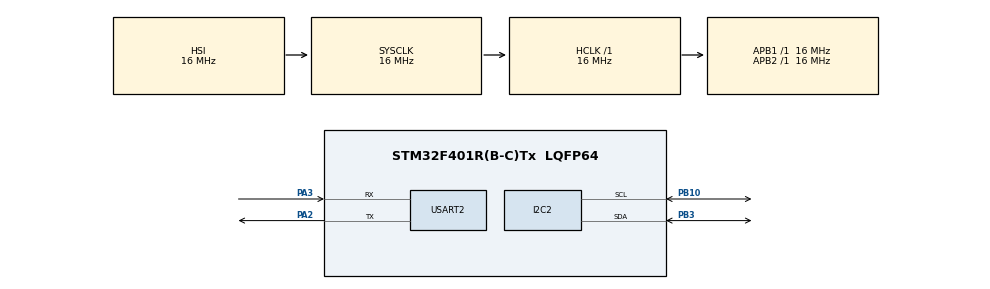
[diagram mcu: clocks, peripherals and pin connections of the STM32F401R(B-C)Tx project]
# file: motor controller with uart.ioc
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FREERTOS.Tasks01=defaultTask,0,128,StartDefaultTask,Default,NULL,Dynamic,NULL,NULL
FREERTOS.configTOTAL_HEAP_SIZE=4096
FREERTOS.configUSE_NEWLIB_REENTRANT=1
Mcu.Family=STM32F4
Mcu.Name=STM32F401R(B-C)Tx
Mcu.Package=LQFP64
NVIC.PriorityGroup=NVIC_PRIORITYGROUP_4
NVIC.TIM2_IRQn=true\:15\:0\:false\:false\:true\:false\:false\:true\:true
NVIC.TimeBase=TIM2_IRQn
NVIC.TimeBaseIP=TIM2
PA2.Mode=Asynchronous
PA2.Signal=USART2_TX
PA3.Mode=Asynchronous
PA3.Signal=USART2_RX
PB10.Mode=I2C
PB10.Signal=I2C2_SCL
PB3.Mode=I2C
PB3.Signal=I2C2_SDA
ProjectManager.HeapSize=0x200
ProjectManager.StackSize=0x400
ProjectManager.TargetToolchain=STM32CubeIDE
RCC.AHBFreq_Value=16000000
RCC.APB1Freq_Value=16000000
RCC.APB2Freq_Value=16000000
RCC.CortexFreq_Value=16000000
RCC.HSE_VALUE=25000000
RCC.HSI_VALUE=16000000
RCC.LSE_VALUE=32768
RCC.SYSCLKFreq_VALUE=16000000
RCC.VCOOutputFreq_Value=192000000
USART2.VirtualMode=VM_ASYNC
VP_FREERTOS_VS_CMSIS_V1.Mode=CMSIS_V1
VP_SYS_VS_tim2.Mode=TIM2
board=custom

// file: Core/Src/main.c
/* USER CODE BEGIN Header */
/**
  ******************************************************************************
  * @file           : main.c
  * @brief          : Main program body - MX1508 Motor Controller with UART
  ******************************************************************************
  * @attention
  *
  * Copyright (c) 2025 STMicroelectronics.
  * All rights reserved.
  *
  * This software is licensed under terms that can be found in the LICENSE file
  * in the root directory of this software component.
  * If no LICENSE file comes with this software, it is provided AS-IS.
  *
  ******************************************************************************
  *
  * @project       Motor Controller with UART - Autonomous Robot
  * @target        STM32F401RCT6
  * @motor_driver  MX1508 Dual H-Bridge
  *
  * @description
  * This firmware implements a UART-controlled motor driver system using the
  * STM32F401RC microcontroller. The robot receives commands via USART1 to
  * control two DC motors through an MX1508 H-bridge driver with PWM speed control.
  *
  * @hardware_connections
  * Motor Driver (MX1508) - PWM Control via TIM5:
  *   PA0 -> IN1 (Motor 1 Forward)  - TIM5_CH1
  *   PA1 -> IN2 (Motor 1 Reverse)  - TIM5_CH2
  *   PA2 -> IN3 (Motor 2 Forward)  - TIM5_CH3
  *   PA3 -> IN4 (Motor 2 Reverse)  - TIM5_CH4
  *
  * UART (USART1):
  *   PA9  -> TX (Connect to RX of USB-Serial adapter)
  *   PA10 -> RX (Connect to TX of USB-Serial adapter)
  *
  * @author        Robot Project Team
  * @date          October 31, 2025
  * @version       2.2 - Modular Architecture
  *
  ******************************************************************************
  */
/* USER CODE END Header */
#include "main.h"
#include "cmsis_os.h"

/* USER CODE BEGIN Includes */
#include "motor_control.h"
#include "uart_comm.h"
#include "led_indicators.h"
#include "ultrasonic.h"
#include "command_processor.h"
#include "wall_avoidance.h"
#include "tof_sensors.h"
#include "i2c_scanner.h"
/* USER CODE END Includes */

I2C_HandleTypeDef hi2c2;

UART_HandleTypeDef huart2;

osThreadId defaultTaskHandle;
osThreadId tofTaskHandle;
osThreadId cmdTaskHandle;
osThreadId wallTaskHandle;

void SystemClock_Config(void);
static void MX_GPIO_Init(void);
static void MX_I2C2_Init(void);
static void MX_USART2_UART_Init(void);
void StartDefaultTask(void const * argument);

/* USER CODE BEGIN 0 */

/**
 * @brief  USART1 Interrupt Handler (redirects to module)
 * @retval None
 */
void USART1_IRQHandler(void)
{
    UART_IRQHandler();
}

/* USER CODE END 0 */

int main(void)
{

  /* MCU Configuration--------------------------------------------------------*/

  /* Reset of all peripherals, Initializes the Flash interface and the Systick. */
  HAL_Init();

  /* Configure the system clock */
  SystemClock_Config();

  /* Initialize all configured peripherals */
  MX_GPIO_Init();
  MX_I2C2_Init();
  MX_USART2_UART_Init();
  /* USER CODE BEGIN 2 */

    /* Initialize GPIO for motors, UART, LEDs, and sensors */
    Motor_GPIO_Init();
    UART_GPIO_Init();
    LED_Init();

#if ULTRASONIC_ENABLED
    Ultrasonic_GPIO_Init();
#endif

    /* Initialize TIM5 for PWM motor control */
    Motor_TIM5_PWM_Init();

    /* Initialize USART1 for command reception */
    UART_Init();

    /* Ensure ToF XSHUT pins are configured and power sensors for scan */
    ToF_GPIO_Init();
    HAL_GPIO_WritePin(TOF_XSHUT_PORT, TOF_XSHUT1_PIN | TOF_XSHUT2_PIN, GPIO_PIN_SET);
    HAL_Delay(10);

    /* Run I2C bus scan to list devices (helpful to confirm VL53L0X presence) */
    I2C_Scanner(&hi2c2);

#if DEBUG_BOOT_BANNER
    /* Print boot banner */
    UART_SendCRLF();
    UART_SendString("BOOT: MX1508 Motor Controller v2.2 (STM32F401RC)\r\n");
    UART_SendString("Architecture: Modular Design\r\n");
    UART_SendString("Clock=HSI 16MHz, UART1=9600 8N1\r\n");
#if ULTRASONIC_ENABLED
    UART_SendString("Ultrasonic: ENABLED");
#else
    UART_SendString("Ultrasonic: DISABLED");
#endif
    UART_SendString(", Debug=");
#if ULTRASONIC_DEBUG
    UART_SendString("ON\r\n");
#else
    UART_SendString("OFF\r\n");
#endif
    UART_SendString("Modules: motor_control, uart_comm, led_indicators, ");
    UART_SendString("ultrasonic, command_processor, wall_avoidance\r\n");
#endif

#if ULTRASONIC_ENABLED
    /* Initialize Ultrasonic sensors */
    Ultrasonic_Init();
#endif

    /* Run LED self-test */
    LED_SelfTest();

    /* Initialize safety timer */
    last_command_time = HAL_GetTick();

    /* Start with motors stopped */
    Motor_Stop();

  /* USER CODE END 2 */

  /* USER CODE BEGIN RTOS_QUEUES */
    /* Create UART command queue */
    osMessageQDef(uartCmdQueue, 32, uint16_t);
    uartCmdQueueHandle = osMessageCreate(osMessageQ(uartCmdQueue), NULL);
  /* USER CODE END RTOS_QUEUES */

  /* Create the thread(s) */
  /* definition and creation of defaultTask */
  osThreadDef(defaultTask, StartDefaultTask, osPriorityNormal, 0, 128);
  defaultTaskHandle = osThreadCreate(osThread(defaultTask), NULL);

  /* USER CODE BEGIN RTOS_THREADS */
    /* add threads, ... */
    /* Create ToF sensor task (reads VL53L0X sensors at ~50Hz) */
    osThreadDef(tofTask, ToF_Task, osPriorityNormal, 0, 256);
    tofTaskHandle = osThreadCreate(osThread(tofTask), NULL);
    /* Create UART command processing task */
    osThreadDef(cmdTask, Command_Task, osPriorityAboveNormal, 0, 128);
    cmdTaskHandle = osThreadCreate(osThread(cmdTask), NULL);
    /* Create Wall Avoidance / Ultrasonic task (centering + side safety) */
    osThreadDef(wallTask, WallAvoidance_Task, osPriorityAboveNormal, 0, 256);
    wallTaskHandle = osThreadCreate(osThread(wallTask), NULL);
  /* USER CODE END RTOS_THREADS */

  /* Start scheduler */
  osKernelStart();

  /* We should never get here as control is now taken by the scheduler */

  /* Infinite loop */
    while (1)
    {

    /* USER CODE BEGIN 3 */
        osDelay(1000);
    }
  /* USER CODE END 3 */
}

void SystemClock_Config(void)
{
  RCC_OscInitTypeDef RCC_OscInitStruct = {0};
  RCC_ClkInitTypeDef RCC_ClkInitStruct = {0};

  /** Configure the main internal regulator output voltage
  */
  __HAL_RCC_PWR_CLK_ENABLE();
  __HAL_PWR_VOLTAGESCALING_CONFIG(PWR_REGULATOR_VOLTAGE_SCALE2);

  /** Initializes the RCC Oscillators according to the specified parameters
  * in the RCC_OscInitTypeDef structure.
  */
  RCC_OscInitStruct.OscillatorType = RCC_OSCILLATORTYPE_HSI;
  RCC_OscInitStruct.HSIState = RCC_HSI_ON;
  RCC_OscInitStruct.HSICalibrationValue = RCC_HSICALIBRATION_DEFAULT;
  RCC_OscInitStruct.PLL.PLLState = RCC_PLL_NONE;
  if (HAL_RCC_OscConfig(&RCC_OscInitStruct) != HAL_OK)
  {
    Error_Handler();
  }

  /** Initializes the CPU, AHB and APB buses clocks
  */
  RCC_ClkInitStruct.ClockType = RCC_CLOCKTYPE_HCLK|RCC_CLOCKTYPE_SYSCLK
                              |RCC_CLOCKTYPE_PCLK1|RCC_CLOCKTYPE_PCLK2;
  RCC_ClkInitStruct.SYSCLKSource = RCC_SYSCLKSOURCE_HSI;
  RCC_ClkInitStruct.AHBCLKDivider = RCC_SYSCLK_DIV1;
  RCC_ClkInitStruct.APB1CLKDivider = RCC_HCLK_DIV1;
  RCC_ClkInitStruct.APB2CLKDivider = RCC_HCLK_DIV1;

  if (HAL_RCC_ClockConfig(&RCC_ClkInitStruct, FLASH_LATENCY_0) != HAL_OK)
  {
    Error_Handler();
  }
}

static void MX_I2C2_Init(void)
{

  hi2c2.Instance = I2C2;
  hi2c2.Init.ClockSpeed = 100000;
  hi2c2.Init.DutyCycle = I2C_DUTYCYCLE_2;
  hi2c2.Init.OwnAddress1 = 0;
  hi2c2.Init.AddressingMode = I2C_ADDRESSINGMODE_7BIT;
  hi2c2.Init.DualAddressMode = I2C_DUALADDRESS_DISABLE;
  hi2c2.Init.OwnAddress2 = 0;
  hi2c2.Init.GeneralCallMode = I2C_GENERALCALL_DISABLE;
  hi2c2.Init.NoStretchMode = I2C_NOSTRETCH_DISABLE;
  if (HAL_I2C_Init(&hi2c2) != HAL_OK)
  {
    Error_Handler();
  }

}

static void MX_USART2_UART_Init(void)
{

  huart2.Instance = USART2;
  huart2.Init.BaudRate = 115200;
  huart2.Init.WordLength = UART_WORDLENGTH_8B;
  huart2.Init.StopBits = UART_STOPBITS_1;
  huart2.Init.Parity = UART_PARITY_NONE;
  huart2.Init.Mode = UART_MODE_TX_RX;
  huart2.Init.HwFlowCtl = UART_HWCONTROL_NONE;
  huart2.Init.OverSampling = UART_OVERSAMPLING_16;
  if (HAL_UART_Init(&huart2) != HAL_OK)
  {
    Error_Handler();
  }

}

static void MX_GPIO_Init(void)
{

  /* GPIO Ports Clock Enable */
  __HAL_RCC_GPIOA_CLK_ENABLE();
  __HAL_RCC_GPIOB_CLK_ENABLE();

}

void StartDefaultTask(void const * argument)
{
  /* USER CODE BEGIN 5 */
    /* Housekeeping/idle task */
    for(;;)
    {
        /* Blink heartbeat LED */
        LED_Toggle_Heartbeat();

#if DEBUG_UART_HEARTBEAT
        static uint32_t hb_counter = 0;
        if (!uart_rx_seen)
        {
            if ((hb_counter++ % 4U) == 0U)
            {
                UART_SendString("HB t=");
                UART_SendUInt(HAL_GetTick());
                UART_SendCRLF();
            }
        }
#endif
        /* Housekeeping: check for command safety timeout */
        Command_SafetyCheck();
        osDelay(250);
    }
  /* USER CODE END 5 */
}

void HAL_TIM_PeriodElapsedCallback(TIM_HandleTypeDef *htim)
{
  if (htim->Instance == TIM2)
  {
    HAL_IncTick();
  }
}

void Error_Handler(void)
{
    __disable_irq();
    while (1)
    {
    }
}
#ifdef USE_FULL_ASSERT
/**
  * @brief  Reports the name of the source file and the source line number
  *         where the assert_param error has occurred.
  * @param  file: pointer to the source file name
  * @param  line: assert_param error line source number
  * @retval None
  */
void assert_failed(uint8_t *file, uint32_t line)
{
  /* USER CODE BEGIN 6 */
    /* USER can add implementation here */
  /* USER CODE END 6 */
}
#endif /* USE_FULL_ASSERT */
